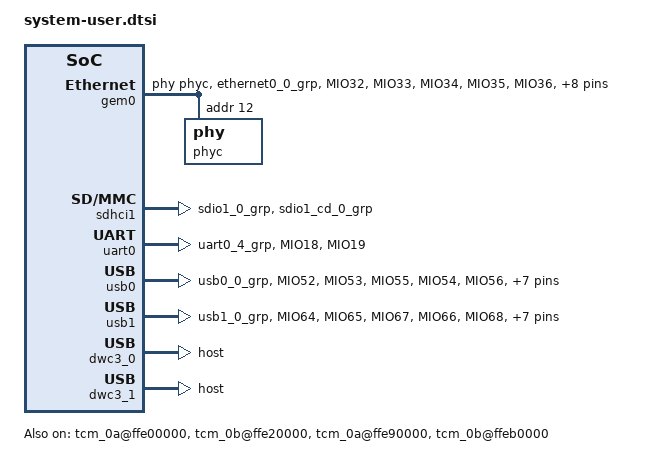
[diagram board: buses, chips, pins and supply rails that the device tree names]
/*/include/ "system-conf.dtsi"*/
/ {
    chosen {
        bootargs = " earlycon console=ttyPS0,115200 clk_ignore_unused root=/dev/mmcblk0p2 rw rootwait";
        stdout-path = "serial0:115200n8";
        };

    tob {
		version = "tob_5";
	};
    
    reserved-memory {
        #address-cells = <2>;
        #size-cells = <2>;
        ranges;
        rproc_0_reserved: rproc@30000000 {
            no-map;
            reg = <0x0 0x30000000 0x0 0x8000000>;
        };
        
        rproc_1_reserved: rproc@38000000 {
            no-map;
            reg = <0x0 0x38000000 0x0 0x8000000>;
        };

        /* Reserved DDR memory for the Microblaze */
        mb_reserved: shared_mem@40000000 {
            no-map;
            reg = <0x0 0x40000000 0x0 0x1000000>;
        };

        rpu0vdev0vring0: rpu0vdev0vring0@29800000 {
            no-map;
            reg = <0x0 0x29800000 0x0 0x4000>;
        };
        rpu0vdev0vring1: rpu0vdev0vring1@29804000 {
            no-map;
            reg = <0x0 0x29804000 0x0 0x4000>;
        };
        rpu0vdev0buffer: rpu0vdev0buffer@29808000 {
            no-map;
            reg = <0x0 0x29808000 0x0 0x100000>;
        };

        rpu1vdev0vring0: rpu1vdev0vring0@29900000 {
            no-map;
            reg = <0x0 0x29900000 0x0 0x4000>;
        };
        rpu1vdev0vring1: rpu1vdev0vring1@29904000 {
            no-map;
            reg = <0x0 0x29904000 0x0 0x4000>;
        };
        rpu1vdev0buffer: rpu1vdev0buffer@29908000 {
            no-map;
            reg = <0x0 0x29908000 0x0 0x100000>;
            };

        /* Reserved DDR memory for ENI */
        eni_reserved: shared_mem@7f000000 {
            no-map;
            reg = <0x0 0x7f000000 0x0 0x1000000>;
        };

        lpd_bram_0: lpd_bram_0@80000000 {
            no-map;
            reg = <0x0 0x80000000 0x0 0x4000>;
        };

        lpd_bram_1: lpd_bram_1@80004000 {
            no-map;
            reg = <0x0 0x80004000 0x0 0x4000>;
        };

        fpd_bram_0: fpd_bram_0@B0000000 {
            no-map;
            reg = <0x0 0xB0000000 0x0 0x4000>;
        };

        fpd_bram_1: fpd_bram_0@B0004000 {
            no-map;
            reg = <0x0 0xB0004000 0x0 0x4000>;
        };
    };

    

    tcm_0a@ffe00000 {
        no-map;
        reg = <0x0 0xffe00000 0x0 0x10000>;
        phandle = <0x40>;
        status = "okay";
        compatible = "mmio-sram";
    };
 
    tcm_0b@ffe20000 {
        no-map;
        reg = <0x0 0xffe20000 0x0 0x10000>;
        phandle = <0x41>;
        status = "okay";
        compatible = "mmio-sram";
    };
 
    tcm_0a@ffe90000 {
        no-map;
        reg = <0x0 0xffe90000 0x0 0x10000>;
        phandle = <0x42>;
        status = "okay";
        compatible = "mmio-sram";
    };
 
    tcm_0b@ffeb0000 {
        no-map;
        reg = <0x0 0xffeb0000 0x0 0x10000>;
        phandle = <0x43>;
        status = "okay";
        compatible = "mmio-sram";
    };

    rf5ss@ff9a0000 {
        compatible = "xlnx,zynqmp-r5-remoteproc";
        #address-cells = <0x2>;
        #size-cells = <0x2>;
        ranges;
        xlnx,cluster-mode = <1>;
        reg = <0x0 0xff9a0000 0x0 0x10000>;
 
        r5f_0 {
            compatible = "xilinx,r5f";
            #address-cells = <0x2>;
            #size-cells = <0x2>;
            ranges;
            sram = <0x40 0x41>;
            memory-region = <&rproc_0_reserved>, <&rpu0vdev0buffer>, <&rpu0vdev0vring0>, <&rpu0vdev0vring1>;
            power-domain = <0x7>;
            mboxes = <&ipi_mailbox_rpu0 0>, <&ipi_mailbox_rpu0 1>;
            mbox-names = "tx", "rx";
        };
        r5f_1 {
            compatible = "xilinx,r5f";
            #address-cells = <0x2>;
            #size-cells = <0x2>;
            ranges;
            sram = <0x42 0x43>;
            memory-region = <&rproc_1_reserved>, <&rpu1vdev0buffer>, <&rpu1vdev0vring0>, <&rpu1vdev0vring1>;
            power-domain = <0x8>;
            mboxes = <&ipi_mailbox_rpu1 0>, <&ipi_mailbox_rpu1 1>;
            mbox-names = "tx", "rx";
        };
    };
 

    zynqmp_ipi1 {
        compatible = "xlnx,zynqmp-ipi-mailbox";
        interrupt-parent = <&gic>;
        interrupts = <0 29 4>;
        xlnx,ipi-id = <7>;
        #address-cells = <1>;
        #size-cells = <1>;
        ranges;
 
        /* APU<->RPU0 IPI mailbox controller */
        ipi_mailbox_rpu0: mailbox@ff990600 {
            reg = <0xff990600 0x20>,
                  <0xff990620 0x20>,
                  <0xff9900c0 0x20>,
                  <0xff9900e0 0x20>;
            reg-names = "local_request_region",
                    "local_response_region",
                    "remote_request_region",
                    "remote_response_region";
            #mbox-cells = <1>;
            xlnx,ipi-id = <1>;
        };
 
    };
 
     zynqmp_ipi2 {
        compatible = "xlnx,zynqmp-ipi-mailbox";
        interrupt-parent = <&gic>;
        interrupts = <0 30 4>;
        xlnx,ipi-id = <8>;
        #address-cells = <1>;
        #size-cells = <1>;
        ranges;
  
        /* APU<->RPU1 IPI mailbox controller */
        ipi_mailbox_rpu1: mailbox@ff990640 {
            reg = <0xff3f0b00 0x20>,
                  <0xff3f0b20 0x20>,
                  <0xff3f0940 0x20>,
                  <0xff3f0960 0x20>;
            reg-names = "local_request_region",
                    "local_response_region",
                    "remote_request_region",
                    "remote_response_region";
            #mbox-cells = <1>;
            xlnx,ipi-id = <2>;
        };
    };

    amba {
      shm0: shm@0 {
            compatible = "shm_uio";
            reg = <0x0 0x30000000 0x0 0x100000>;
        };
        elf_ddr_0: ddr@30000000 {
            compatible = "mmio-sram";
            reg = <0x0 0x30000000 0x0 0x8000000>;
        };
        elf_ddr_1: ddr@38000000 {
            compatible = "mmio-sram";
            reg = <0x0 0x38000000 0x0 0x8000000>;
        };
        elf_ddr_mb0: ddr@40000000 {
            compatible = "mmio-sram";
            reg = <0x0 0x40000000 0x0 0x1000000>;
        };
        mmio_lpd_bram_0: lpd_bram@80000000 {
            compatible = "mmio-sram";
            reg = <0x0 0x80000000 0x0 0x4000>;
	};
        mmio_lpd_bram_1: lpd_bram@80004000 {
            compatible = "mmio-sram";
            reg = <0x0 0x80004000 0x0 0x4000>;
	};
        mmio_fpd_bram_0: fpd_bram@B0000000 {
            compatible = "mmio-sram";
            reg = <0x0 0xB0000000 0x0 0x4000>;
	};
        mmio_fpd_bram_1: fpd_bram@B0004000 {
            compatible = "mmio-sram";
            reg = <0x0 0xB0004000 0x0 0x4000>;
	};
    };
};

&gem0 {
        /* Moved from system-conf.dtsi */
        local-mac-address = [00 0a 35 00 22 01];


        phy-handle = <&phyc>;
        pinctrl-names = "default";
        pinctrl-0 = <&pinctrl_gem0_default>;
        phyc: phy@c {
                reg = <0xc>;
                ti,rx-internal-delay = <0x8>;
                ti,tx-internal-delay = <0xa>;
		/* TODO: add  delay? */
                ti,fifo-depth = <0x1>;
                ti,rxctrl-strap-worka;
        };
};




&gem1 {
        /delete-property/ phy-handle;
        status = "disabled";
	/delete-node/ mdio;
};

&gem2 {
        /delete-property/ phy-handle;
        status = "disabled";
	/delete-node/ mdio;
};

&gem3 {
        /delete-property/ phy-handle;
        status = "disabled";
	/delete-node/ mdio;
};

/* NOTE: Much of what's below may not end up being relevant to the TOB */

// SPDX-License-Identifier: GPL-2.0+
/*
 * dts file for Xilinx ZynqMP ZCU104
 *
 * (C) Copyright 2017 - 2018, Xilinx, Inc.
 *
 * Michal Simek <michal.simek@xilinx.com>
 */


/* TODO: Figure out why enabling this causes kernel panic
&i2c1 {
        pinctrl-names = "default", "gpio";
        pinctrl-0 = <&pinctrl_i2c1_default>;
        pinctrl-1 = <&pinctrl_i2c1_gpio>;
        scl-gpios = <&gpio 16 0>;
        sda-gpios = <&gpio 17 0>;
};
*/

&pinctrl0 {
        status = "okay";

/* TODO: Figure out why enabling this causes kernel panic
        pinctrl_i2c1_default: i2c1-default {
                mux {
                        groups = "i2c1_4_grp";
                        function = "i2c1";
                };

                conf {
                        groups = "i2c1_4_grp";
                        bias-pull-up;
                        slew-rate = <1>;
                        io-standard = <1>;
                        drive-strength = <12>;
                };
        };

        pinctrl_i2c1_gpio: i2c1-gpio {
                mux {
                        groups = "gpio0_16_grp", "gpio0_17_grp";
                        function = "gpio0";
                };

                conf {
                        groups = "gpio0_16_grp", "gpio0_17_grp";
                        slew-rate = <1>;
                        io-standard = <1>;
                        drive-strength = <12>;
                };
        };
*/

        pinctrl_sdhci1_default: sdhci1-default {
                mux {
                        groups = "sdio1_0_grp";
                        function = "sdio1";
                };

                conf {
                        groups = "sdio1_0_grp";
                        slew-rate = <1>;
                        io-standard = <1>;
                        bias-disable;
                        drive-strength = <12>;
                };

                mux-cd {
                        groups = "sdio1_cd_0_grp";
                        function = "sdio1_cd";
                };

                conf-cd {
                        groups = "sdio1_cd_0_grp";
                        bias-high-impedance;
                        bias-pull-up;
                        slew-rate = <1>;
                        io-standard = <1>;
                };
        };

        pinctrl_uart0_default: uart0-default {
                mux {
                        groups = "uart0_4_grp";
                        function = "uart0";
                };

                conf {
                        groups = "uart0_4_grp";
                        slew-rate = <1>;
                        io-standard = <1>;
                        drive-strength = <12>;
                };

                conf-rx {
                        pins = "MIO18";
                        bias-high-impedance;
                };

                conf-tx {
                        pins = "MIO19";
                        bias-disable;
                };
        };

        pinctrl_uart1_default: uart1-default {
                mux {
                        groups = "uart1_5_grp";
                        function = "uart1";
                };

                conf {
                        groups = "uart1_5_grp";
                        slew-rate = <1>;
                        io-standard = <1>;
                        drive-strength = <12>;
                };

                conf-rx {
                        pins = "MIO21";
                        bias-high-impedance;
                };

                conf-tx {
                        pins = "MIO20";
                        bias-disable;
                };
        };

        pinctrl_usb0_default: usb0-default {
                mux {
                        groups = "usb0_0_grp";
                        function = "usb0";
                };

                conf {
                        groups = "usb0_0_grp";
                        slew-rate = <1>;
                        io-standard = <1>;
                        drive-strength = <12>;
                };

                conf-rx {
                        pins = "MIO52", "MIO53", "MIO55";
                        bias-high-impedance;
                };

                conf-tx {
                        pins = "MIO54", "MIO56", "MIO57", "MIO58", "MIO59",
                               "MIO60", "MIO61", "MIO62", "MIO63";
                        bias-disable;
                };
        };
        
        pinctrl_usb1_default: usb1-default {
                mux {
                        groups = "usb1_0_grp";
                        function = "usb1";
                };

                conf {
                        groups = "usb1_0_grp";
                        slew-rate = <1>;
                        io-standard = <1>;
                        drive-strength = <12>;
                };

                conf-rx {
                        pins = "MIO64", "MIO65", "MIO67";
                        bias-high-impedance;
                };

                conf-tx {
                        pins = "MIO66", "MIO68", "MIO69", "MIO70", "MIO71",
                               "MIO72", "MIO73", "MIO74", "MIO75";
                        bias-disable;
                };
        };

        pinctrl_gem0_default: gem0-default {
                mux {
                        function = "ethernet0";
                        groups = "ethernet0_0_grp";
                };

                conf {
                        groups = "ethernet0_0_grp";
                        slew-rate = <1>;
                        io-standard = <1>;
                        drive-strength = <12>;
                };

                conf-rx {
                        pins = "MIO32", "MIO33", "MIO34", "MIO35", "MIO36",
                                                                        "MIO37";
                        bias-high-impedance;
                        low-power-disable;
                };

                conf-tx {
                        pins = "MIO26", "MIO27", "MIO28", "MIO29", "MIO30",
                                                                        "MIO31";
                        bias-disable;
                        low-power-enable;
                };

                mux-mdio {
                        function = "mdio3";
                        groups = "mdio0_0_grp";
                };

                conf-mdio {
                        groups = "mdio0_0_grp";
                        slew-rate = <1>;
                        io-standard = <1>;
                        bias-disable;
                };
        };
};

/* SD1 with level shifter */
&sdhci1 {
        no-1-8-v;
        pinctrl-names = "default";
        pinctrl-0 = <&pinctrl_sdhci1_default>;
        xlnx,mio_bank = <1>;
        disable-wp;
};

&uart0 {
        pinctrl-names = "default";
        pinctrl-0 = <&pinctrl_uart0_default>;
};

&uart1 {
        pinctrl-names = "default";
        pinctrl-0 = <&pinctrl_uart1_default>;
};

/* ULPI SMSC USB3320 */
&usb0 {
        pinctrl-names = "default";
        pinctrl-0 = <&pinctrl_usb0_default>;
};

&usb1 {
        pinctrl-names = "default";
        pinctrl-0 = <&pinctrl_usb1_default>;
};

&dwc3_0 {
        status = "okay";
        dr_mode = "host";

};

&dwc3_1 {
        status = "okay";
        dr_mode = "host";
};

&uart1 {
        status = "disabled";
};


